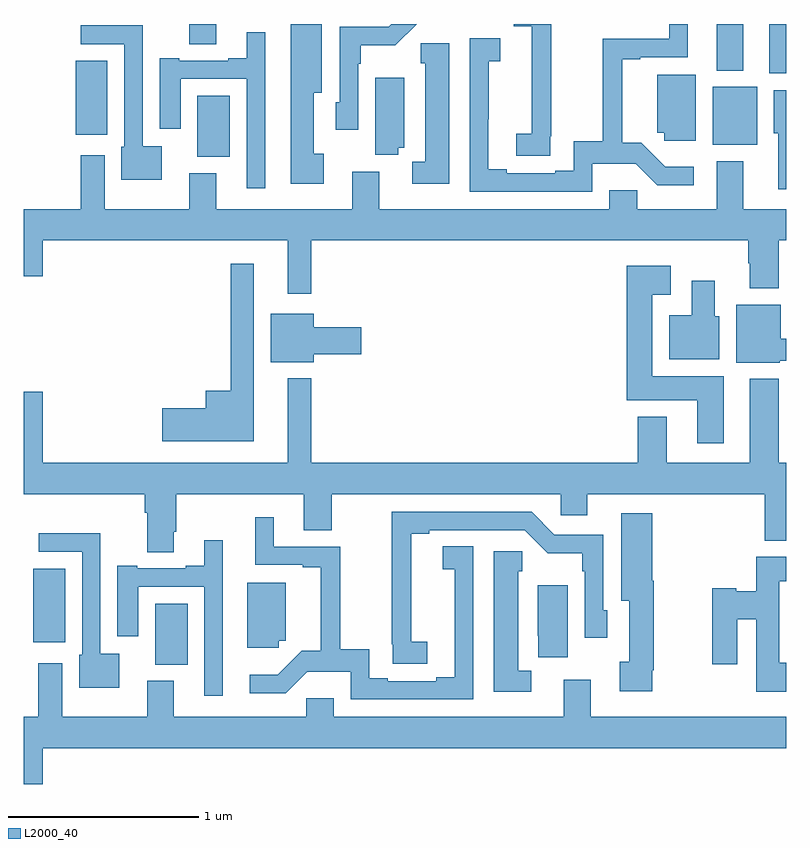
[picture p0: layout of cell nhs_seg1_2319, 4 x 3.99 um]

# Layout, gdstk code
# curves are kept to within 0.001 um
import gdstk
lib = gdstk.Library(unit=1e-6, precision=1e-09)
def R(c, l, rs):  # rectangles x0, y0, x1, y1
    for r in rs: c.add(gdstk.rectangle(r[:2], r[2:], *l))
def P(c, l, *ps):  # polygons
    for p in ps: c.add(gdstk.Polygon(p, *l))
L2000_40 = (2000, 40)

nhs_seg1_2319 = lib.new_cell('nhs_seg1_2319')
R(nhs_seg1_2319, L2000_40, [(237.689,550.838,237.859,551.158), (237.05,550.955,237.217,551.341), (237.911,553.502,238.081,553.822), (240.614,553.565,240.847,553.87), (237.272,553.619,237.439,554.005), (240.911,553.94,241,554.199), (240.635,553.955,240.775,554.199), (237.869,554.092,238.009,554.199)])
P(nhs_seg1_2319, L2000_40, [(239.982,553.466),(240.211,553.466),(240.324,553.353),(240.514,553.353),(240.514,553.45),(240.365,553.45),(240.239,553.576),(240.14,553.576),(240.14,554.013),(240.235,554.013),(240.235,554.025),(240.484,554.025),(240.484,554.199),(240.386,554.199),(240.386,554.121),(240.037,554.121),(240.037,553.583),(239.886,553.583),(239.886,553.43),(239.789,553.43),(239.789,553.416),(239.533,553.416),(239.533,553.436),(239.437,553.436),(239.437,553.699),(239.439,553.699),(239.439,554.003),(239.5,554.003),(239.5,554.123),(239.34,554.123),(239.34,553.32),(239.982,553.32)],
  [(238.573,553.518),(238.522,553.518),(238.522,553.838),(238.564,553.838),(238.564,554.199),(238.4,554.199),(238.4,553.362),(238.573,553.362)],
  [(239.762,553.609),(239.768,553.609),(239.768,554.199),(239.57,554.199),(239.57,554.188),(239.666,554.188),(239.666,553.905),(239.665,553.905),(239.665,553.622),(239.583,553.622),(239.583,553.507),(239.762,553.507)],
  [(238.755,553.991),(238.768,553.991),(238.768,554.087),(238.949,554.087),(239.061,554.199),(238.929,554.199),(238.914,554.184),(238.659,554.184),(238.659,553.788),(238.638,553.788),(238.638,553.644),(238.755,553.644)],
  [(237.724,553.558),(237.624,553.558),(237.624,554.192),(237.3,554.192),(237.3,554.094),(237.528,554.094),(237.528,553.554),(237.512,553.554),(237.512,553.382),(237.724,553.382)],
  [(238.267,554.155),(238.169,554.155),(238.169,554.02),(238.073,554.02),(238.073,554.007),(237.817,554.007),(237.817,554.02),(237.713,554.02),(237.713,553.65),(237.823,553.65),(237.823,553.911),(238.17,553.911),(238.17,553.338),(238.267,553.338)],
  [(239.233,554.098),(239.083,554.098),(239.083,553.992),(239.105,553.992),(239.105,553.476),(239.037,553.476),(239.037,553.361),(239.233,553.361)],
  [(240.526,553.933),(240.323,553.933),(240.323,553.628),(240.36,553.628),(240.36,553.586),(240.526,553.586)],
  [(238.964,553.55),(238.996,553.55),(238.996,553.918),(238.844,553.918),(238.844,553.513),(238.964,553.513)],
  [(241,553.852),(240.935,553.852),(240.935,553.626),(240.959,553.626),(240.959,553.332),(241,553.332)],
  [(238.507,553.064),(240.802,553.064),(240.802,552.944),(240.809,552.944),(240.809,552.812),(240.962,552.812),(240.962,553.064),(241,553.064),(241,553.228),(240.775,553.228),(240.775,553.48),(240.635,553.48),(240.635,553.228),(240.218,553.228),(240.218,553.326),(240.071,553.326),(240.071,553.228),(238.864,553.228),(238.864,553.423),(238.724,553.423),(238.724,553.228),(238.009,553.228),(238.009,553.417),(237.869,553.417),(237.869,553.228),(237.424,553.228),(237.424,553.51),(237.299,553.51),(237.299,553.228),(237,553.228),(237,552.876),(237.1,552.876),(237.1,553.064),(238.385,553.064),(238.385,552.783),(238.507,552.783)],
  [(238.207,552.94),(238.086,552.94),(238.086,552.274),(237.956,552.274),(237.956,552.182),(237.726,552.182),(237.726,552.011),(238.207,552.011)],
  [(240.673,552.352),(240.298,552.352),(240.298,552.779),(240.394,552.779),(240.394,552.931),(240.164,552.931),(240.164,552.224),(240.533,552.224),(240.533,552),(240.673,552)],
  [(240.649,552.666),(240.625,552.666),(240.625,552.853),(240.503,552.853),(240.503,552.67),(240.386,552.67),(240.386,552.44),(240.649,552.44)],
  [(240.966,552.432),(241,552.432),(241,552.548),(240.97,552.548),(240.97,552.727),(240.737,552.727),(240.737,552.422),(240.966,552.422)],
  [(238.522,552.467),(238.771,552.467),(238.771,552.609),(238.522,552.609),(238.522,552.679),(238.295,552.679),(238.295,552.425),(238.522,552.425)],
  [(237.787,551.536),(237.8,551.536),(237.8,551.732),(238.469,551.732),(238.469,551.542),(238.617,551.542),(238.617,551.732),(239.817,551.732),(239.817,551.622),(239.956,551.622),(239.956,551.732),(240.887,551.732),(240.887,551.489),(241,551.489),(241,551.896),(240.962,551.896),(240.962,552.337),(240.809,552.337),(240.809,551.896),(240.373,551.896),(240.373,552.139),(240.221,552.139),(240.221,551.896),(238.507,551.896),(238.507,552.34),(238.385,552.34),(238.385,551.896),(237.1,551.896),(237.1,552.271),(237,552.271),(237,551.732),(237.635,551.732),(237.635,551.636),(237.647,551.636),(237.647,551.428),(237.787,551.428)],
  [(239.116,550.958),(239.034,550.958),(239.032,551.524),(239.128,551.524),(239.128,551.544),(239.628,551.544),(239.749,551.423),(239.931,551.423),(239.931,551.327),(239.943,551.327),(239.943,550.98),(240.06,550.98),(240.06,551.124),(240.039,551.124),(240.039,551.52),(239.784,551.52),(239.664,551.64),(238.93,551.64),(238.93,550.945),(238.936,550.945),(238.936,550.843),(239.116,550.843)],
  [(240.298,550.81),(240.306,550.81),(240.306,551.278),(240.298,551.278),(240.298,551.632),(240.134,551.632),(240.134,551.174),(240.176,551.174),(240.176,550.854),(240.126,550.854),(240.126,550.698),(240.298,550.698)],
  [(239.358,551.459),(239.199,551.459),(239.199,551.339),(239.26,551.339),(239.261,550.772),(239.165,550.772),(239.165,550.752),(238.909,550.752),(238.909,550.766),(238.812,550.766),(238.812,550.919),(238.661,550.919),(238.661,551.457),(238.312,551.457),(238.312,551.611),(238.214,551.611),(238.214,551.361),(238.463,551.361),(238.463,551.349),(238.559,551.349),(238.559,550.912),(238.459,550.912),(238.333,550.786),(238.185,550.786),(238.185,550.689),(238.374,550.689),(238.487,550.802),(238.716,550.802),(238.716,550.656),(239.358,550.656)],
  [(237.502,550.894),(237.402,550.894),(237.402,551.528),(237.078,551.528),(237.078,551.43),(237.306,551.43),(237.306,550.89),(237.29,550.89),(237.29,550.718),(237.502,550.718)],
  [(238.044,551.491),(237.947,551.491),(237.947,551.356),(237.851,551.356),(237.851,551.343),(237.595,551.343),(237.595,551.356),(237.491,551.356),(237.491,550.986),(237.601,550.986),(237.601,551.247),(237.948,551.247),(237.948,550.674),(238.044,550.674)],
  [(239.662,550.805),(239.593,550.805),(239.593,551.328),(239.615,551.328),(239.615,551.434),(239.465,551.434),(239.465,550.697),(239.662,550.697)],
  [(241,550.849),(240.964,550.849),(240.964,551.276),(241,551.276),(241,551.404),(240.842,551.404),(240.842,551.222),(240.738,551.222),(240.738,551.24),(240.613,551.24),(240.613,550.839),(240.742,550.839),(240.742,551.075),(240.842,551.075),(240.842,550.697),(241,550.697)],
  [(238.338,550.964),(238.375,550.964),(238.375,551.269),(238.172,551.269),(238.172,550.928),(238.338,550.928)],
  [(239.854,551.254),(239.696,551.254),(239.696,550.99),(239.698,550.99),(239.698,550.878),(239.854,550.878)],
  [(237.1,550.4),(241,550.4),(241,550.564),(239.974,550.564),(239.974,550.759),(239.834,550.759),(239.834,550.564),(238.627,550.564),(238.627,550.662),(238.481,550.662),(238.481,550.564),(237.787,550.564),(237.787,550.753),(237.647,550.753),(237.647,550.564),(237.202,550.564),(237.202,550.846),(237.077,550.846),(237.077,550.564),(237,550.564),(237,550.212),(237.1,550.212)])

lib.write_gds('nhs_seg1_2319.gds')
